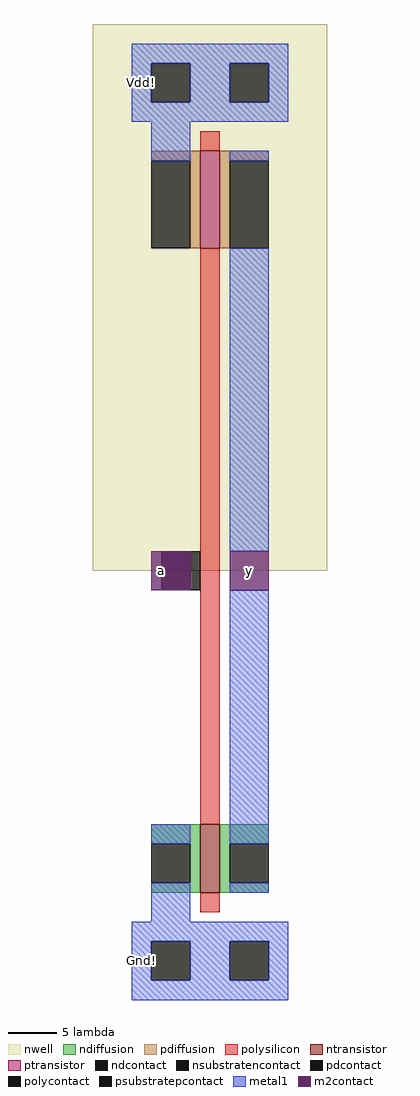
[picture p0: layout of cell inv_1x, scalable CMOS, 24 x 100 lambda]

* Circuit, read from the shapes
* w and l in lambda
.subckt inv_1x Gnd! Vdd! a y
M1 y a Gnd! Gnd! nfet w=7 l=2
M2 y a Vdd! Vdd! pfet w=10 l=2
.ends

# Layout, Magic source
magic
tech scmos
<< nwell >>
rect -6 40 18 96
<< ntransistor >>
rect 5 7 7 14
<< ptransistor >>
rect 5 73 7 83
<< ndiffusion >>
rect 0 12 5 14
rect 4 8 5 12
rect 0 7 5 8
rect 7 12 12 14
rect 7 8 8 12
rect 7 7 12 8
<< pdiffusion >>
rect 0 82 5 83
rect 4 73 5 82
rect 7 82 12 83
rect 7 73 8 82
<< ndcontact >>
rect 0 8 4 12
rect 8 8 12 12
<< pdcontact >>
rect 0 73 4 82
rect 8 73 12 82
<< psubstratepcontact >>
rect 0 -2 4 2
rect 8 -2 12 2
<< nsubstratencontact >>
rect 0 88 4 92
rect 8 88 12 92
<< polysilicon >>
rect 5 83 7 85
rect 5 14 7 73
rect 5 5 7 7
<< polycontact >>
rect 1 38 5 42
<< metal1 >>
rect -2 92 14 94
rect -2 88 0 92
rect 4 88 8 92
rect 12 88 14 92
rect -2 86 14 88
rect 0 82 4 86
rect 8 82 12 83
rect 8 42 12 73
rect 0 12 4 14
rect 0 4 4 8
rect 8 12 12 38
rect 8 7 12 8
rect -2 2 14 4
rect -2 -2 0 2
rect 4 -2 8 2
rect 12 -2 14 2
rect -2 -4 14 -2
<< m2contact >>
rect 0 38 1 42
rect 1 38 4 42
rect 8 38 12 42
<< labels >>
rlabel m2contact 1 40 1 40 1 a
rlabel m2contact 10 40 10 40 1 y
rlabel metal1 -1 0 -1 0 3 Gnd!
rlabel metal1 -1 90 -1 90 3 Vdd!
<< end >>
